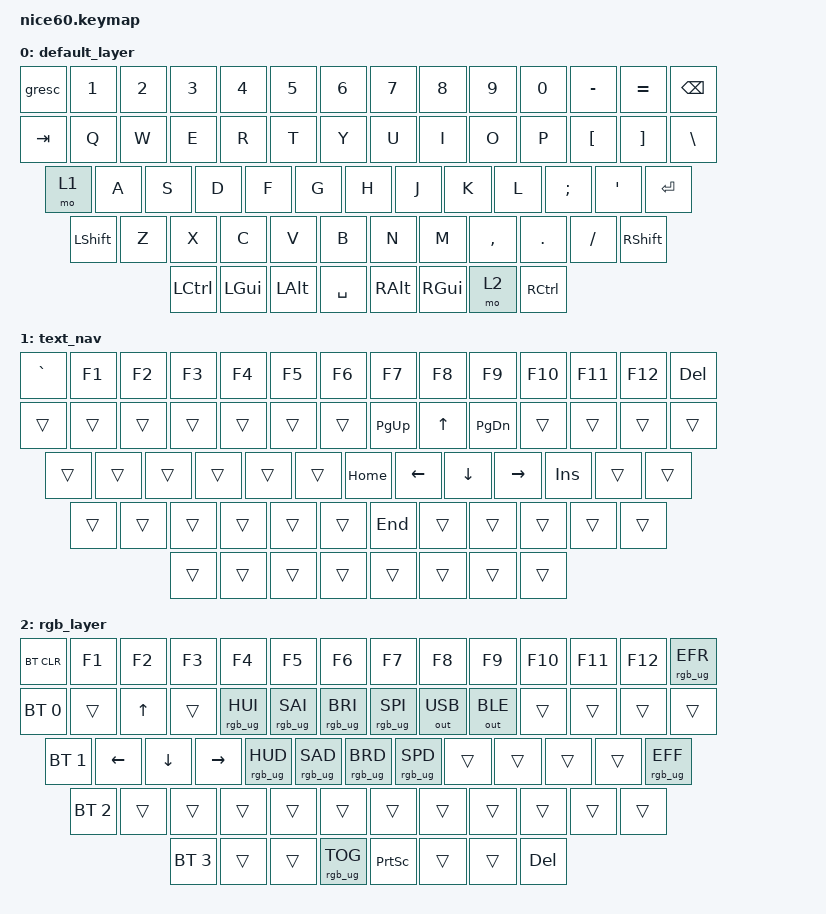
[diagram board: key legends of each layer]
/*
 * Copyright (c) 2021 Nick Winans
 *
 * SPDX-License-Identifier: MIT
 */

#include <behaviors.dtsi>
#include <dt-bindings/zmk/keys.h>
#include <dt-bindings/zmk/rgb.h>
#include <dt-bindings/zmk/bt.h>
#include <dt-bindings/zmk/outputs.h>
#include <dt-bindings/zmk/reset.h>
#include <dt-bindings/zmk/ext_power.h>

/ {
	keymap {
		compatible = "zmk,keymap";
		
		default_layer {
// ------------------------------------------------------------------------------------------
// | ESC |  1  |  2  |  3  |  4  |  5  |  6  |  7  |  8  |  9  |  0  |  -  |  =  |   BKSP   |
// | TAB  |  Q  |  W  |  E  |  R  |  T  |  Y  |  U  |  I  |  O  |  P  |  [  |  ]  |   "|"   |
// | MO(1) |  A  |  S  |  D  |  F  |  G  |  H  |  J  |  K  |  L  |  ;  |  '  |     ENTER    |
// |  SHIFT  |  Z  |  X  |  C  |  V  |  B  |  N  |  M  |  ,  |  .  |  /  |      SHIFT       |
// |  CTL  |  WIN  |  ALT  |            SPACE              |  ALT  |  WIN  |  MO(2) |  CTL  |
// ------------------------------------------------------------------------------------------
			bindings = <
	&gresc  &kp N1 &kp N2 &kp N3 &kp N4 &kp N5 &kp N6 &kp N7 &kp N8 &kp N9 &kp N0 &kp MINUS &kp EQUAL  &kp BSPC
	&kp TAB  &kp Q  &kp W  &kp E  &kp R  &kp T  &kp Y  &kp U  &kp I  &kp O  &kp P  &kp LBKT  &kp RBKT  &kp BSLH
	&mo 1     &kp A  &kp S  &kp D  &kp F  &kp G  &kp H  &kp J  &kp K  &kp L  &kp SEMI &kp SQT           &kp RET
	&kp LSHFT   &kp Z  &kp X  &kp C  &kp V  &kp B  &kp N  &kp M  &kp COMMA &kp DOT &kp FSLH           &kp RSHFT
	&kp LCTRL &kp LGUI &kp LALT             &kp SPACE                     &kp RALT  &kp RGUI  &mo 2   &kp RCTRL
			>;
		};

		text_nav {
// ------------------------------------------------------------------------------------------------
// | GRV | F1  | F2  | F3  | F4  | F5  | F6  | F7  | F8  | F9  | F10 | F11 | F12 |  DEL  |
// |       |     |    |     |     |     |     | PGU |  UP | PGD |     |     |     |      |
// |        |     |    |     |     |     |  HM |  LT  | DWN | RT  | INS |     |          |
// |         |     |    |     |     |     | END |     |     |     |     |                |
// |     |     |     |                                     |      |      |       |       |
// ------------------------------------------------------------------------------------------------
			bindings = <
	&kp GRAVE   &kp F1   &kp F2   &kp F3   &kp F4   &kp F5   &kp F6   &kp F7   &kp F8   &kp F9   &kp F10   &kp F11   &kp F12         &kp DEL
	&trans       &trans   &trans   &trans   &trans   &trans   &trans   &kp PG_UP   &kp UP   &kp PG_DN   &trans   &trans  &trans       &trans 
	&trans        &trans   &trans   &trans   &trans   &trans   &kp HOME &kp LEFT    &kp DOWN &kp RIGHT   &kp INS  &trans              &trans
	&trans         &trans   &trans   &trans   &trans   &trans   &kp END  &trans      &trans   &trans      &trans                      &trans
	&trans   &trans    &trans                            &trans                                     &trans  &trans  &trans &trans
			>;
		};
		
		rgb_layer {
// ------------------------------------------------------------------------------------------------
// | BT CLR | F1  | F2  | F3  | F4  | F5  | F6  | F7  | F8  | F9  | F10  | F11 | F12 | EFFECT REV |
// |  BT 1   |   |  UP |   | HUEUP | SATUP | BRIUP | SPDUP | USB |  BLE |     |     |     |       |
// |   BT 2   | LT |  DN  | RT | HUEDN | SATDN | BRIDN | SPDDN |   |     |   |     |  EFFECT FORW |
// |    BT 3     |     |      |      |     |     |     |     |     |     |     |                  |
// |   BT 4  |      |      |             TOG RGB                | PRT SCR |       |       |  DEL  |
// ------------------------------------------------------------------------------------------------
			bindings = <
	&bt BT_CLR   &kp F1    &kp F2    &kp F3  &kp F4           &kp F5          &kp F6          &kp F7          &kp F8   &kp F9   &kp F10  &kp F11 &kp F12  &rgb_ug RGB_EFR
	&bt BT_SEL 0  &trans    &kp UP    &trans  &rgb_ug RGB_HUI  &rgb_ug RGB_SAI &rgb_ug RGB_BRI &rgb_ug RGB_SPI  &out OUT_USB   &out OUT_BLE   &trans   &trans  &trans          &trans 
	&bt BT_SEL 1   &kp LEFT  &kp DOWN  &kp RIGHT &rgb_ug RGB_HUD &rgb_ug RGB_SAD &rgb_ug RGB_BRD &rgb_ug RGB_SPD &trans   &trans   &trans   &trans        &rgb_ug RGB_EFF
	&bt BT_SEL 2    &trans    &trans    &trans   &trans          &trans          &trans          &trans          &trans   &trans   &trans                          &trans
	&bt BT_SEL 3  &trans   &trans                            &rgb_ug RGB_TOG                                      &kp PSCRN      &trans      &trans               &kp DEL
			>;
		};
	};
};
